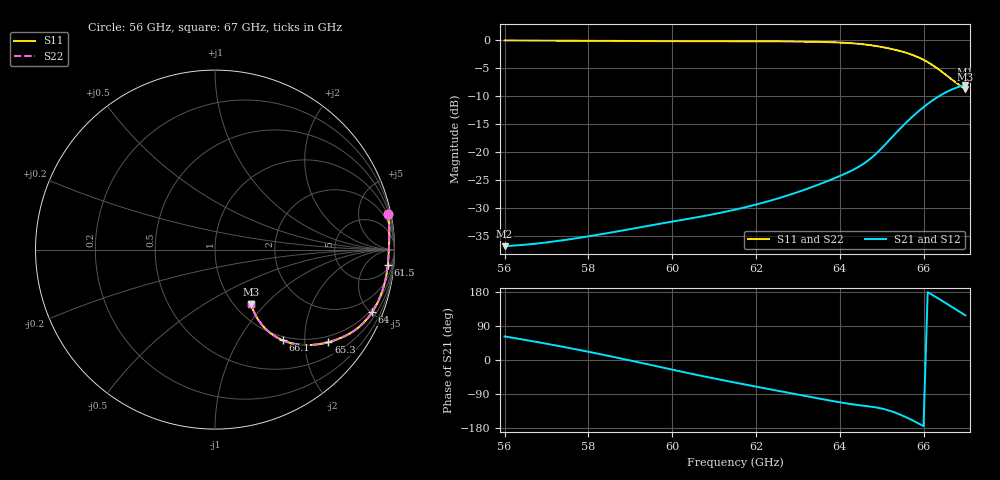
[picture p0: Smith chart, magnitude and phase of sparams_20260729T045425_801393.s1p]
! Touchstone file exported from HFSS 2023.2.0
!  File:  C:/Users/Gongzhui/Documents/Projects/hfss-mcp/benchmark/cases/siw_feed_l1/runs/run_probe_failcheck/app_data/workspace/runs/run_probe_failcheck/work/siw_feed_l1_sandbox.aedt
!  Generated:  12:54:25 %x4E0B%x5348  7%x6708 29, 2026
!  Design:  SIW Feed Structure
!  Project:  siw_feed_l1_sandbox
!  Setup:  Setup1
!  Solution:  Sweep
! Variables:
!  Ty = 2.5mm
!  cd = 0.75mm
!  cx = 7.9mm
!  cy = 7.9mm
!  fl = 0.2316mm
!  fw = 0.7517mm
!  fx = 2.6516mm
!  fy = 2.0646mm
!  gap = 0.18mm
!  gx = 15.65mm
!  gy = 13mm
!  hsub = 0.787mm
!  lWG = 3.875mm
!  offset = 0.04mm
!  pl = 1.4mm
!  pw = 0.6mm
!  t1 = 0.2502mm
!  t2 = 0.2mm
!  vd = 0.3mm
!  vs = 0.58mm
!  wWG = 4.4292mm
# GHz S MA R 50.000000
! Terminal data exported
! Port[1] = 1
! Port[2] = 2
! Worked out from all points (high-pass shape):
!   111 points, 56 GHz to 67 GHz, reference 50 ohm
!   highest |S21| = -8.00 dB at 67 GHz (marker M1); lowest = -36.8 dB at 56 GHz (marker M2)
!   |S21| within 3 dB of the highest: 66.18 GHz to end of sweep
!   lowest |S11| = -8.8 dB at 67 GHz (marker M3), VSWR 2.14, Z = 59.1 - j41.4 ohm
!   |S11| at or under -10 dB: nowhere
!   |S22| runs from -8.8 to -0.1 dB; largest |S21 - S12| = 6.7e-15
!   S11 on the Smith chart (normalised r, x): 56 GHz: 0.82, +9.77; 61.5 GHz: 7, -19; 64 GHz: 0.82, -5.07; 65.3 GHz: 0.83, -2.57; 66.1 GHz: 0.94, -1.57; 67 GHz: 1.18, -0.83
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56  0.9832 11.6  0.01452 62.2  0.01452 62.2  0.9832 11.6
56.9  0.9808 9.2  0.01552 44.9  0.01552 44.9  0.9809 9.2
57.9  0.977 6.4  0.01751 23.9  0.01751 23.9  0.977 6.4
59.7  0.9698 1.3  0.02295 -18.1  0.02295 -18.1  0.9698 1.3
61.5  0.9664 -5.1  0.03068 -59.5  0.03068 -59.5  0.9663 -5.1
62.5  0.9642 -10.1  0.03838 -80.7  0.03838 -80.7  0.9641 -10.1
63.4  0.9564 -16.2  0.04975 -99.5  0.04975 -99.5  0.9563 -16.2
64  0.942 -21.8  0.06112 -111.6  0.06112 -111.6  0.942 -21.7
64.3  0.928 -25.2  0.06883 -116.8  0.06883 -116.8  0.9281 -25.2
64.6  0.9058 -29.0  0.08004 -121.1  0.08004 -121.1  0.9059 -29.0
64.9  0.8731 -33.2  0.09909 -125.8  0.09909 -125.8  0.8733 -33.2
65.2  0.8314 -37.6  0.1296 -134.1  0.1296 -134.1  0.8316 -37.6
65.3  0.8158 -39.2  0.1421 -137.9  0.1421 -137.9  0.8159 -39.2
65.5  0.7809 -42.5  0.1698 -146.8  0.1698 -146.8  0.781 -42.5
65.7  0.7395 -46.0  0.2005 -157.2  0.2005 -157.2  0.7395 -46.0
65.9  0.6895 -49.7  0.2335 -168.6  0.2335 -168.6  0.6894 -49.7
66.1  0.6305 -53.3  0.2679 179.1  0.2679 179.1  0.6303 -53.3
66.3  0.5645 -56.2  0.3022 165.9  0.3022 165.9  0.5644 -56.2
66.4  0.5304 -57.3  0.3187 159.2  0.3187 159.2  0.5304 -57.3
66.6  0.4647 -58.4  0.3492 145.4  0.3492 145.4  0.4649 -58.3
66.8  0.4079 -58.0  0.3756 131.5  0.3756 131.5  0.4082 -57.9
67  0.3635 -56.8  0.3979 117.8  0.3979 117.8  0.3641 -56.7
